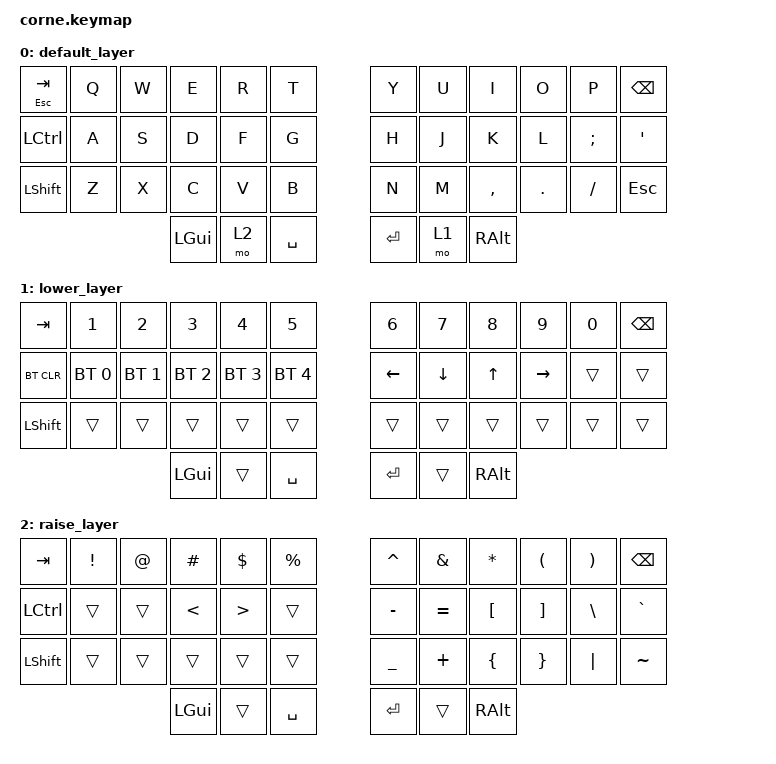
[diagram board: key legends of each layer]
/*
 * Copyright (c) 2020 The ZMK Contributors
 *
 * SPDX-License-Identifier: MIT
 */

#include <behaviors.dtsi>
#include <dt-bindings/zmk/bt.h>
#include <dt-bindings/zmk/keys.h>

/ {
    combos {
        compatible = "zmk,combos";

        semicolon {
            bindings = <&kp SEMI>;
            key-positions = <32 33>;
        };

        crl+z {
            bindings = <&kp LG(Z)>;
            key-positions = <25 26>;
        };

        crl+x {
            bindings = <&kp LG(X)>;
            key-positions = <26 27>;
        };

        crl+c {
            bindings = <&kp LG(C)>;
            key-positions = <28 27>;
        };

        crl+v {
            bindings = <&kp LG(V)>;
            key-positions = <29 28>;
        };

        dollar {
            bindings = <&kp DOLLAR>;
            key-positions = <30 31>;
        };

        minus {
            bindings = <&kp MINUS>;
            key-positions = <31 32>;
        };

        underscore {
            bindings = <&kp UNDERSCORE>;
            key-positions = <31 32 33>;
        };

        backspace {
            bindings = <&kp BACKSPACE>;
            key-positions = <21 22>;
        };

        tab {
            bindings = <&kp TAB>;
            key-positions = <16 15>;
        };

        capslock {
            bindings = <&kp CAPSLOCK>;
            key-positions = <13 14>;
        };

        new_tap {
            bindings = <&kp LG(T)>;
            key-positions = <5 4>;
        };

        angle_bracket_1 {
            bindings = <&kp LESS_THAN>;
            key-positions = <20 19>;
        };

        angle_bracket_2 {
            bindings = <&kp GREATER_THAN>;
            key-positions = <21 20>;
        };

        esc {
            bindings = <&kp ESCAPE>;
            key-positions = <1 2>;
        };

        function {
            bindings = <&kp RGUI>;
            key-positions = <7 8>;
        };

        cmd+shilf+j {
            bindings = <&kp LG(LS(J))>;
            key-positions = <3 4>;
        };
    };

    keymap {
        compatible = "zmk,keymap";

        default_layer {
            // -----------------------------------------------------------------------------------------
            // |  TAB |  Q  |  W  |  E  |  R  |  T  |   |  Y  |  U   |  I  |  O  |  P  | BKSP |
            // | CTRL |  A  |  S  |  D  |  F  |  G  |   |  H  |  J   |  K  |  L  |  ;  |  '   |
            // | SHFT |  Z  |  X  |  C  |  V  |  B  |   |  N  |  M   |  ,  |  .  |  /  | ESC  |
            //                    | GUI | LWR | SPC |   | ENT | RSE  | ALT |

            bindings = <
&mt ESCAPE TAB  &kp Q  &kp W  &kp E     &kp R  &kp T        &kp Y    &kp U  &kp I      &kp O    &kp P          &kp BSPC
&kp LCTRL       &kp A  &kp S  &kp D     &kp F  &kp G        &kp H    &kp J  &kp K      &kp L    &kp SEMICOLON  &kp SQT
&kp LSHFT       &kp Z  &kp X  &kp C     &kp V  &kp B        &kp N    &kp M  &kp COMMA  &kp DOT  &kp FSLH       &kp ESC
                              &kp LGUI  &mo 2  &kp SPACE    &kp RET  &mo 1  &kp RALT
            >;
        };

        lower_layer {
            // -----------------------------------------------------------------------------------------
            // |  TAB |  1  |  2  |  3  |  4  |  5  |   |  6  |  7  |  8  |  9  |  0  | BKSP |
            // | BTCLR| BT1 | BT2 | BT3 | BT4 | BT5 |   | LFT | DWN |  UP | RGT |     |      |
            // | SHFT |     |     |     |     |     |   |     |     |     |     |     |      |
            //                    | GUI |     | SPC |   | ENT |     | ALT |

            bindings = <
&kp TAB     &kp N1        &kp N2        &kp N3        &kp N4        &kp N5          &kp N6    &kp N7    &kp N8    &kp N9     &kp N0  &kp BSPC
&bt BT_CLR  &bt BT_SEL 0  &bt BT_SEL 1  &bt BT_SEL 2  &bt BT_SEL 3  &bt BT_SEL 4    &kp LEFT  &kp DOWN  &kp UP    &kp RIGHT  &trans  &trans
&kp LSHFT   &trans        &trans        &trans        &trans        &trans          &trans    &trans    &trans    &trans     &trans  &trans
                                        &kp LGUI      &trans        &kp SPACE       &kp RET   &trans    &kp RALT
            >;
        };

        raise_layer {
            // -----------------------------------------------------------------------------------------
            // |  TAB |  !  |  @  |  #  |  $  |  %  |   |  ^  |  &  |  *  |  (  |  )  | BKSP |
            // | CTRL |     |     |     |     |     |   |  -  |  =  |  [  |  ]  |  \  |  `   |
            // | SHFT |     |     |     |     |     |   |  _  |  +  |  {  |  }  | "|" |  ~   |
            //                    | GUI |     | SPC |   | ENT |     | ALT |

            bindings = <
&kp TAB    &kp EXCL  &kp AT  &kp HASH       &kp DLLR          &kp PRCNT    &kp CARET  &kp AMPS   &kp ASTRK  &kp LPAR  &kp RPAR  &kp BSPC
&kp LCTRL  &trans    &trans  &kp LESS_THAN  &kp GREATER_THAN  &trans       &kp MINUS  &kp EQUAL  &kp LBKT   &kp RBKT  &kp BSLH  &kp GRAVE
&kp LSHFT  &trans    &trans  &trans         &trans            &trans       &kp UNDER  &kp PLUS   &kp LBRC   &kp RBRC  &kp PIPE  &kp TILDE
                             &kp LGUI       &trans            &kp SPACE    &kp RET    &trans     &kp RALT
            >;
        };
    };
};
